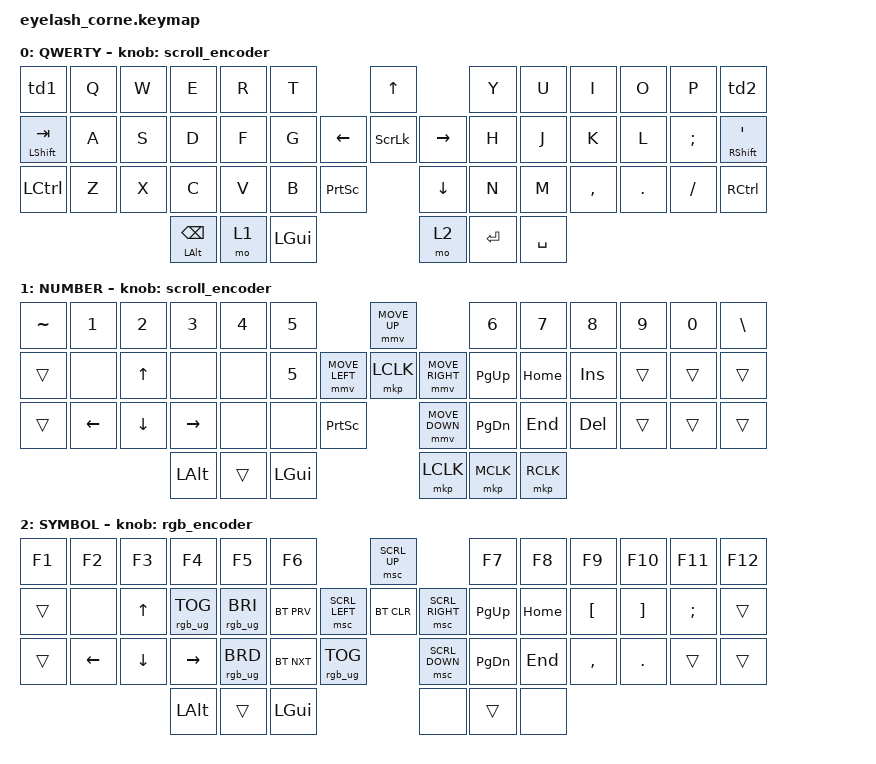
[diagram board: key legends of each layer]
#include <behaviors.dtsi>
#include <dt-bindings/zmk/bt.h>
#include <dt-bindings/zmk/keys.h>
#include <dt-bindings/zmk/mouse.h>
#include <dt-bindings/zmk/outputs.h>
#include <dt-bindings/zmk/rgb.h>

#include <input/processors.dtsi>

/*

   &mmv_input_listener {
       input-processors = <&zip_xy_scaler 2 1>;
   };

   &msc_input_listener {
       input-processors = <&zip_xy_scaler 2 1>;
   };

 */

#define ZMK_MOUSE_DEFAULT_MOVE_VAL 1500  // 600
//#define ZMK_MOUSE_DEFAULT_SCRL_VAL 100   // 10
#define ZMK_MOUSE_SCRL_VAL 140

/ {
    behaviors {
        td0: td0 {
            compatible = "zmk,behavior-tap-dance";
            display-name = "Shift/Caps Lock Tap Dance";
            #binding-cells = <0>;
            bindings = <&kp LEFT_SHIFT>, <&kp CAPS>;
        };
        td1: td1 {
            compatible = "zmk,behavior-tap-dance";
            display-name = "Tab/ESC Tap Dance";
            #binding-cells = <0>;
            bindings = <&kp GRAVE>, <&kp ESC>;
        };
        td2: td2 {
            compatible = "zmk,behavior-tap-dance";
            display-name = "-/= Tap Dance";
            #binding-cells = <0>;
            bindings = <&kp MINUS>, <&kp EQUAL>;
        };
    };

    rgb_encoder: rgb_encoder {
        compatible = "zmk,behavior-sensor-rotate";
        #sensor-binding-cells = <0>;
        bindings = <&rgb_ug RGB_BRI>, <&rgb_ug RGB_BRD>;
    };

    scroll_encoder: scroll_encoder {
        compatible = "zmk,behavior-sensor-rotate";
        #sensor-binding-cells = <0>;
        bindings = <&msc SCRL_DOWN>, <&msc SCRL_UP>;
        tap-ms = <30>;
    };

    keymap {
        compatible = "zmk,keymap";

        default_layer {
            display-name = "QWERTY";
            bindings = <
&td1            &kp Q  &kp W      &kp E       &kp R  &kp T                              &kp UP               &kp Y        &kp U  &kp I      &kp O    &kp P     &td2
&mt LSHIFT TAB  &kp A  &kp S      &kp D       &kp F  &kp G                    &kp LEFT  &kp SLCK  &kp RIGHT  &kp H        &kp J  &kp K      &kp L    &kp SEMI  &mt RSHIFT SQT
&kp LCTRL       &kp Z  &kp X      &kp C       &kp V  &kp B       &kp PSCRN              &kp DOWN             &kp N        &kp M  &kp COMMA  &kp DOT  &kp FSLH  &kp RCTRL
                             &mt LALT BSPC  &mo 1   &kp LGUI                                          &mo 2  &kp ENTER  &kp SPACE
            >;
            sensor-bindings = <&scroll_encoder>;
        };

        lower_layer {
            display-name = "NUMBER";
            bindings = <
&kp TILDE  &kp N1           &kp N2          &kp N3        &kp N4        &kp N5                                        &mmv MOVE_UP                &kp N6           &kp N7        &kp N8     &kp N9            &kp N0     &kp BSLH
&trans     &none            &kp UP          &none         &none         &kp N5                        &mmv MOVE_LEFT  &mkp LCLK  &mmv MOVE_RIGHT  &kp PG_UP        &kp HOME      &kp INS    &trans            &trans     &trans
&trans     &kp LEFT         &kp DOWN        &kp RIGHT     &none         &none  &kp PSCRN                              &mmv MOVE_DOWN              &kp PG_DN        &kp END       &kp DEL    &trans            &trans     &trans
                                         &kp LALT        &trans        &kp LGUI                                                        &mkp LCLK      &mkp MCLK         &mkp RCLK
            >;
            sensor-bindings = <&scroll_encoder>;
        };

        raise_layer {
            display-name = "SYMBOL";
            bindings = <
&kp F1  &kp F2        &kp F3         &kp F4                 &kp F5                 &kp F6                             &msc SCRL_UP               &kp F7     &kp F8    &kp F9     &kp F10   &kp F11   &kp F12
&trans  &none         &kp UP         &rgb_ug RGB_TOG        &rgb_ug RGB_BRI        &bt BT_PRV        &msc SCRL_LEFT   &bt BT_CLR  &msc SCRL_RIGHT  &kp PG_UP  &kp HOME  &kp LBKT   &kp RBKT  &kp SEMI  &trans
&trans  &kp LEFT      &kp DOWN       &kp RIGHT              &rgb_ug RGB_BRD        &bt BT_NXT   &rgb_ug RGB_TOG       &msc SCRL_DOWN             &kp PG_DN  &kp END   &kp COMMA  &kp DOT   &trans    &trans
                                    &kp LALT     &trans     &kp LGUI                                                                       &none      &trans     &none
            >;
            sensor-bindings = <&rgb_encoder>;
        };
    };
};
